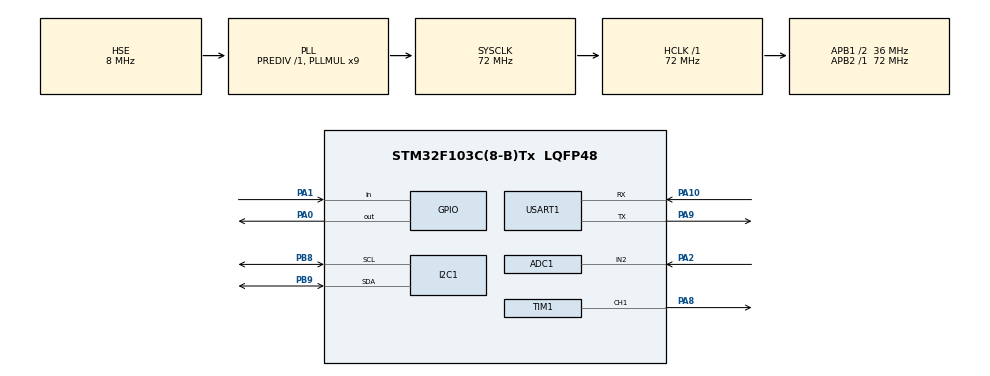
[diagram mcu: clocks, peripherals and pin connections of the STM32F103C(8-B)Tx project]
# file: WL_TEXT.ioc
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ADC1.Channel-1\#ChannelRegularConversion=ADC_CHANNEL_2
ADC1.Channel-2\#ChannelRegularConversion=ADC_CHANNEL_2
ADC1.ContinuousConvMode=ENABLE
ADC1.NbrOfConversion=2
ADC1.NbrOfConversionFlag=1
ADC1.Rank-1\#ChannelRegularConversion=1
ADC1.Rank-2\#ChannelRegularConversion=2
ADC1.SamplingTime-1\#ChannelRegularConversion=ADC_SAMPLETIME_239CYCLES_5
ADC1.SamplingTime-2\#ChannelRegularConversion=ADC_SAMPLETIME_239CYCLES_5
ADC1.master=1
Dma.ADC1.0.Direction=DMA_PERIPH_TO_MEMORY
Dma.ADC1.0.Instance=DMA1_Channel1
Dma.ADC1.0.MemDataAlignment=DMA_MDATAALIGN_HALFWORD
Dma.ADC1.0.MemInc=DMA_MINC_DISABLE
Dma.ADC1.0.Mode=DMA_CIRCULAR
Dma.ADC1.0.PeriphDataAlignment=DMA_PDATAALIGN_HALFWORD
Dma.ADC1.0.PeriphInc=DMA_PINC_DISABLE
Dma.ADC1.0.Priority=DMA_PRIORITY_LOW
Dma.Request0=ADC1
I2C1.I2C_Mode=I2C_Fast
Mcu.Family=STM32F1
Mcu.Name=STM32F103C(8-B)Tx
Mcu.Package=LQFP48
NVIC.DMA1_Channel1_IRQn=true\:0\:0\:false\:false\:true\:false\:true\:true
NVIC.PriorityGroup=NVIC_PRIORITYGROUP_4
NVIC.TIM4_IRQn=true\:0\:0\:false\:false\:true\:true\:true\:true
PA0-WKUP.GPIO_ModeDefaultOutputPP=GPIO_MODE_OUTPUT_PP
PA0-WKUP.GPIO_PuPd=GPIO_PULLUP
PA0-WKUP.GPIO_Speed=GPIO_SPEED_FREQ_MEDIUM
PA0-WKUP.PinState=GPIO_PIN_RESET
PA0-WKUP.Signal=GPIO_Output
PA1.GPIO_PuPd=GPIO_PULLUP
PA1.Signal=GPIO_Input
PA10.Mode=Asynchronous
PA10.Signal=USART1_RX
PA13.Mode=Serial_Wire
PA13.Signal=SYS_JTMS-SWDIO
PA14.Mode=Serial_Wire
PA14.Signal=SYS_JTCK-SWCLK
PA2.Signal=ADCx_IN2
PA8.Signal=S_TIM1_CH1
PA9.Mode=Asynchronous
PA9.Signal=USART1_TX
PB8.Mode=I2C
PB8.Signal=I2C1_SCL
PB9.Mode=I2C
PB9.Signal=I2C1_SDA
PD0-OSC_IN.Mode=HSE-External-Oscillator
PD0-OSC_IN.Signal=RCC_OSC_IN
PD1-OSC_OUT.Mode=HSE-External-Oscillator
PD1-OSC_OUT.Signal=RCC_OSC_OUT
ProjectManager.HeapSize=0x200
ProjectManager.StackSize=0x400
ProjectManager.TargetToolchain=MDK-ARM V5.32
RCC.ADCPresc=RCC_ADCPCLK2_DIV6
RCC.AHBFreq_Value=72000000
RCC.APB1CLKDivider=RCC_HCLK_DIV2
RCC.APB1Freq_Value=36000000
RCC.APB1TimFreq_Value=72000000
RCC.APB2Freq_Value=72000000
RCC.APB2TimFreq_Value=72000000
RCC.HCLKFreq_Value=72000000
RCC.PLLMUL=RCC_PLL_MUL9
RCC.PLLSourceVirtual=RCC_PLLSOURCE_HSE
RCC.SYSCLKFreq_VALUE=72000000
RCC.SYSCLKSource=RCC_SYSCLKSOURCE_PLLCLK
RCC.USBFreq_Value=72000000
SH.ADCx_IN2.0=ADC1_IN2,IN2
SH.S_TIM1_CH1.0=TIM1_CH1,PWM Generation1 CH1
TIM1.AutoReloadPreload=TIM_AUTORELOAD_PRELOAD_ENABLE
TIM1.Channel-PWM\ Generation1\ CH1=TIM_CHANNEL_1
TIM1.Period=10000
TIM1.Prescaler=71
TIM4.AutoReloadPreload=TIM_AUTORELOAD_PRELOAD_ENABLE
TIM4.Period=1000
TIM4.Prescaler=7199
TIM4.TIM_MasterOutputTrigger=TIM_TRGO_UPDATE
USART1.VirtualMode=VM_ASYNC
VP_TIM1_VS_ClockSourceINT.Mode=Internal
VP_TIM4_VS_ClockSourceINT.Mode=Internal
board=custom

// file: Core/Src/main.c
/* USER CODE BEGIN Header */
/**
  ******************************************************************************
  * @file           : main.c
  * @brief          : Main program body
  ******************************************************************************
  * @attention
  *
  * Copyright (c) 2026 STMicroelectronics.
  * All rights reserved.
  *
  * This software is licensed under terms that can be found in the LICENSE file
  * in the root directory of this software component.
  * If no LICENSE file comes with this software, it is provided AS-IS.
  *
  ******************************************************************************
  */
/* USER CODE END Header */
#include "main.h"
#include "adc.h"
#include "dma.h"
#include "i2c.h"
#include "tim.h"
#include "usart.h"
#include "gpio.h"

/* USER CODE BEGIN Includes */
#include "oled.h"
#include "font.h"
#include "string.h"
#include "stdio.h"
#include "math.h"
#include "Thermistor.h"

/* USER CODE END Includes */

/* USER CODE BEGIN PV */
char str[20];
volatile uint8_t state = 0; //0是关闭，1是开启
//extern uint16_t data[4];
float temperature = 0.0f;

uint32_t led_start_time = 0;
uint8_t led_running = 0; // 标记 LED 是否正在计时
/* USER CODE END PV */

void SystemClock_Config(void);

int main(void)
{

  /* MCU Configuration--------------------------------------------------------*/

  /* Reset of all peripherals, Initializes the Flash interface and the Systick. */
  HAL_Init();

  /* Configure the system clock */
  SystemClock_Config();

  /* Initialize all configured peripherals */
  MX_GPIO_Init();
  MX_DMA_Init();
  MX_TIM1_Init();
  MX_TIM4_Init();
  MX_USART1_UART_Init();
  MX_I2C1_Init();
  MX_ADC1_Init();
  /* USER CODE BEGIN 2 */
  HAL_Delay(20);
	OLED_Init();
  HAL_TIM_Base_Start_IT(&htim4); // 启动定时器中断
  HAL_TIM_Base_Start(&htim1); // 启动定时器1

  HAL_TIM_PWM_Start(&htim1, TIM_CHANNEL_1); // 启动定时器1的PWM输出

  HAL_ADC_Start_DMA(&hadc1,(uint32_t *)data,sizeof(data)/sizeof(uint16_t));
  /* USER CODE END 2 */

  /* Infinite loop */
  /* USER CODE BEGIN WHILE */
  while (1)
  {
    if(state == 0)
    {
      HAL_GPIO_WritePin(GPIOA, GPIO_PIN_0, GPIO_PIN_RESET); // 熄灭LED
      __HAL_TIM_SET_COMPARE(&htim1, TIM_CHANNEL_1, 0); // 设置占空比为0%
      led_running = 0; // 重置 LED 计时标志
      OLED_NewFrame();
      OLED_PrintString(0, 0, "烘干:停止", &font16x16, OLED_COLOR_NORMAL);
      OLED_ShowFrame();
      // HAL_Delay(100);
    }
    else if(state == 1)
    {
// --- 1. LED 高电平逻辑（非阻塞） ---
        if (led_running == 0)
        {
            // 刚进入 state 1，点亮 LED 并记录当前时间
            HAL_GPIO_WritePin(GPIOA, GPIO_PIN_0, GPIO_PIN_SET);
            led_start_time = HAL_GetTick();
            led_running = 1;
        }
        else
        {
            // 如果已经运行了 1000ms，就熄灭（或者维持原样，根据你的业务逻辑调）
            if (HAL_GetTick() - led_start_time >= 1000)
            {
                HAL_GPIO_WritePin(GPIOA, GPIO_PIN_0, GPIO_PIN_RESET);
                // 如果你想让它循环亮灭，可以在这里把 led_running 设为 0 重新触发
            }
        }

      temperature = thermistor_calculate();

      if(temperature >= 32.0f)
      {
        __HAL_TIM_SET_COMPARE(&htim1, TIM_CHANNEL_1, 5000); // 设置占空比为100%
      }
      else if(temperature <=30.0f)
      {
        __HAL_TIM_SET_COMPARE(&htim1, TIM_CHANNEL_1, 0);
      }

      OLED_NewFrame();
      sprintf(str, "温度:%dC", (int)(temperature + 0.5f)); // 四舍五入取整数
      OLED_PrintString(0, 16, str, &font16x16, OLED_COLOR_NORMAL);
      OLED_PrintString(0, 0, "烘干:开启 ", &font16x16, OLED_COLOR_NORMAL);//如果在“：”后面汉字报错可以在字符串最后加上一个空格
      OLED_ShowFrame();
      // HAL_Delay(500);
    }

    /* USER CODE END WHILE */

  }
}

void SystemClock_Config(void)
{
  RCC_OscInitTypeDef RCC_OscInitStruct = {0};
  RCC_ClkInitTypeDef RCC_ClkInitStruct = {0};
  RCC_PeriphCLKInitTypeDef PeriphClkInit = {0};

  /** Initializes the RCC Oscillators according to the specified parameters
  * in the RCC_OscInitTypeDef structure.
  */
  RCC_OscInitStruct.OscillatorType = RCC_OSCILLATORTYPE_HSE;
  RCC_OscInitStruct.HSEState = RCC_HSE_ON;
  RCC_OscInitStruct.HSEPredivValue = RCC_HSE_PREDIV_DIV1;
  RCC_OscInitStruct.HSIState = RCC_HSI_ON;
  RCC_OscInitStruct.PLL.PLLState = RCC_PLL_ON;
  RCC_OscInitStruct.PLL.PLLSource = RCC_PLLSOURCE_HSE;
  RCC_OscInitStruct.PLL.PLLMUL = RCC_PLL_MUL9;
  if (HAL_RCC_OscConfig(&RCC_OscInitStruct) != HAL_OK)
  {
    Error_Handler();
  }

  /** Initializes the CPU, AHB and APB buses clocks
  */
  RCC_ClkInitStruct.ClockType = RCC_CLOCKTYPE_HCLK|RCC_CLOCKTYPE_SYSCLK
                              |RCC_CLOCKTYPE_PCLK1|RCC_CLOCKTYPE_PCLK2;
  RCC_ClkInitStruct.SYSCLKSource = RCC_SYSCLKSOURCE_PLLCLK;
  RCC_ClkInitStruct.AHBCLKDivider = RCC_SYSCLK_DIV1;
  RCC_ClkInitStruct.APB1CLKDivider = RCC_HCLK_DIV2;
  RCC_ClkInitStruct.APB2CLKDivider = RCC_HCLK_DIV1;

  if (HAL_RCC_ClockConfig(&RCC_ClkInitStruct, FLASH_LATENCY_2) != HAL_OK)
  {
    Error_Handler();
  }
  PeriphClkInit.PeriphClockSelection = RCC_PERIPHCLK_ADC;
  PeriphClkInit.AdcClockSelection = RCC_ADCPCLK2_DIV6;
  if (HAL_RCCEx_PeriphCLKConfig(&PeriphClkInit) != HAL_OK)
  {
    Error_Handler();
  }
}

/* USER CODE BEGIN 4 */
void HAL_TIM_PeriodElapsedCallback(TIM_HandleTypeDef *htim)
{
    if(htim->Instance == TIM4)
    {
        // 1. 定义静态变量（只初始化一次，保留上次的值）
        static uint8_t last_key_val = 1; // 假设上拉输入，默认高电平
        uint8_t current_key_val;

        // 2. 读取当前按键引脚电平
        current_key_val = HAL_GPIO_ReadPin(GPIOA, GPIO_PIN_1);

        // 3. 核心逻辑：检测下降沿（从1变到0，表示按下）
        // 如果你的按键是按下接高电平，就改成 (last_key_val == 0 && current_key_val == 1)
        if (last_key_val == 1 && current_key_val == 0)
        {
            // 因为定时器本身就是 20ms 进一次，所以天然避开了抖动
            // 只要检测到跳变，就一定是稳定的按下
            state = !state; // 翻转你的全局状态变量码

            // 这里可以放你想执行的操作，比如：
            // HAL_GPIO_TogglePin(GPIOC, GPIO_PIN_13);
        }

        // 4. 更新旧状态，为下一次比较做准备
        last_key_val = current_key_val;
    }
}
/* USER CODE END 4 */

void Error_Handler(void)
{
  __disable_irq();
  while (1)
  {
  }
}
